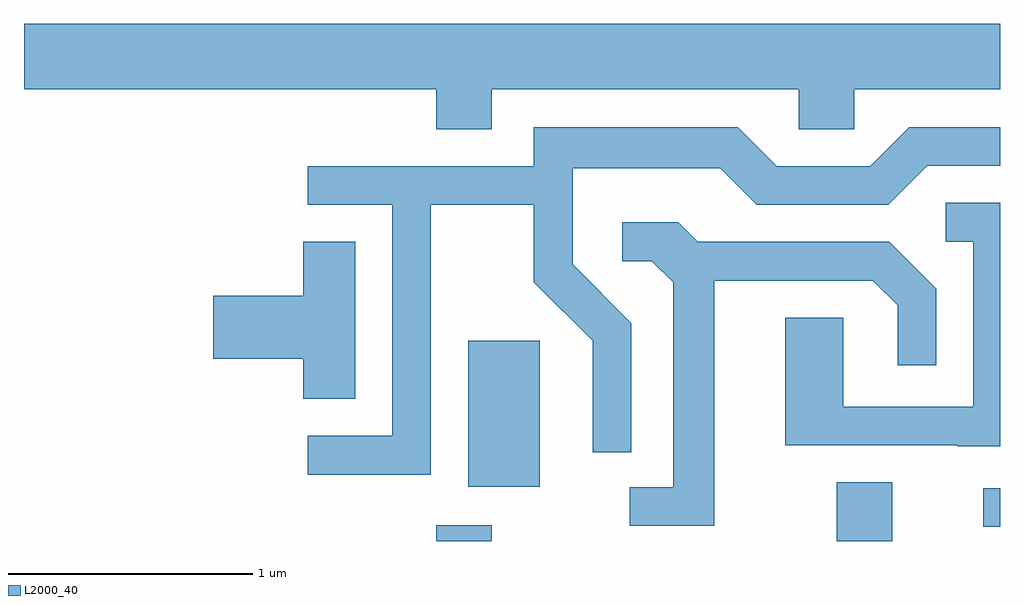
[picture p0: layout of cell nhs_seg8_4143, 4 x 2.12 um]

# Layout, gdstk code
import gdstk
lib = gdstk.Library(unit=1e-6, precision=1e-09)
def R(c, l, rs):  # rectangles x0, y0, x1, y1
    for r in rs: c.add(gdstk.rectangle(r[:2], r[2:], *l))
def P(c, l, *ps):  # polygons
    for p in ps: c.add(gdstk.Polygon(p, *l))
L2000_40 = (2000, 40)

nhs_seg8_4143 = lib.new_cell('nhs_seg8_4143')
R(nhs_seg8_4143, L2000_40, [(311.301,1832.342,311.529,1832.409), (312.941,1832.342,313.169,1832.584), (313.543,1832.401,313.611,1832.559), (311.431,1832.566,311.724,1833.164)])
P(nhs_seg8_4143, L2000_40, [(311.529,1834.196),(312.786,1834.196),(312.786,1834.031),(313.014,1834.031),(313.014,1834.196),(313.611,1834.196),(313.611,1834.464),(309.611,1834.464),(309.611,1834.196),(311.301,1834.196),(311.301,1834.031),(311.529,1834.031)],
  [(311.279,1833.721),(311.701,1833.721),(311.701,1833.404),(311.941,1833.164),(311.941,1832.708),(312.099,1832.708),(312.099,1833.237),(311.859,1833.477),(311.859,1833.871),(312.464,1833.871),(312.614,1833.721),(313.152,1833.721),(313.312,1833.881),(313.611,1833.881),(313.611,1834.039),(313.239,1834.039),(313.079,1833.879),(312.697,1833.879),(312.537,1834.039),(311.701,1834.039),(311.701,1833.879),(310.773,1833.879),(310.773,1833.721),(311.121,1833.721),(311.121,1832.774),(310.773,1832.774),(310.773,1832.616),(311.279,1832.616)],
  [(313.611,1833.729),(313.388,1833.729),(313.388,1833.571),(313.501,1833.571),(313.501,1832.894),(312.969,1832.894),(312.969,1833.259),(312.731,1833.259),(312.731,1832.736),(313.435,1832.736),(313.435,1832.731),(313.611,1832.731)],
  [(312.439,1833.411),(313.089,1833.411),(313.191,1833.309),(313.191,1833.063),(313.349,1833.063),(313.349,1833.377),(313.157,1833.569),(312.372,1833.569),(312.292,1833.649),(312.063,1833.649),(312.063,1833.491),(312.184,1833.491),(312.271,1833.404),(312.271,1832.564),(312.093,1832.564),(312.093,1832.406),(312.439,1832.406)],
  [(310.969,1833.569),(310.756,1833.569),(310.756,1833.349),(310.386,1833.349),(310.386,1833.091),(310.756,1833.091),(310.756,1832.926),(310.969,1832.926)])

lib.write_gds('nhs_seg8_4143.gds')
